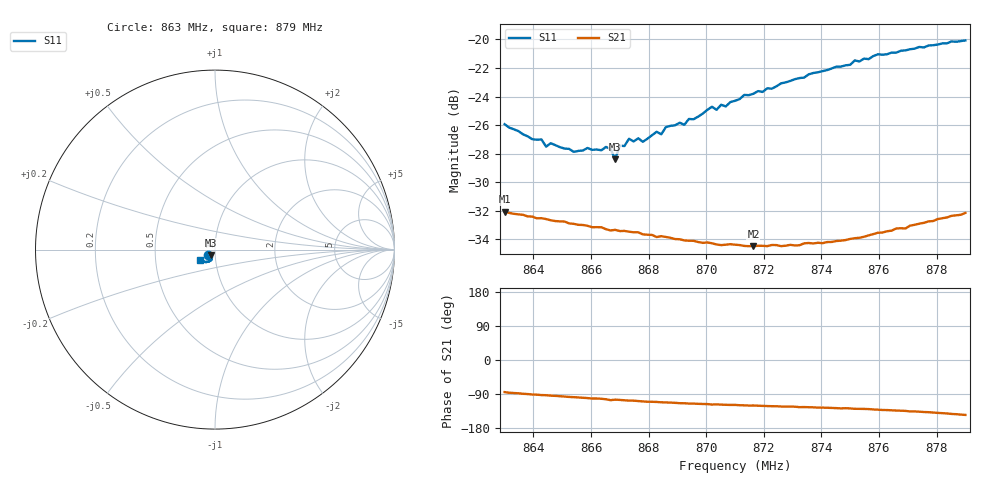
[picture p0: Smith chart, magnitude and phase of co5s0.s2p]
# HZ S RI R 50
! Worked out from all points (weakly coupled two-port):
!   101 points, 863 MHz to 879 MHz, reference 50 ohm
!   highest |S21| = -32.06 dB at 863 MHz (marker M1); lowest = -34.5 dB at 871.64 MHz (marker M2)
!   lowest |S11| = -28.4 dB at 866.84 MHz (marker M3), VSWR 1.08, Z = 47.9 - j3.09 ohm
!   |S11| at or under -10 dB: start of sweep to end of sweep
!   S12 and S22 are empty: the file has one direction only
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8.63e8  -0.0402 -0.0305  0.00231 -0.0248  0 0  0 0
8.6428e8  -0.0317 -0.0314  -0.00105 -0.0237  0 0  0 0
8.6444e8  -0.0302 -0.0294  -0.00119 -0.0235  0 0  0 0
8.646e8  -0.0304 -0.0309  -0.00162 -0.0232  0 0  0 0
8.6572e8  -0.0243 -0.0329  -0.00378 -0.0221  0 0  0 0
8.6652e8  -0.0216 -0.0361  -0.00508 -0.0211  0 0  0 0
8.6668e8  -0.0205 -0.0359  -0.00593 -0.0206  0 0  0 0
8.6684e8  -0.0202 -0.0322  -0.00543 -0.0209  0 0  0 0
8.67e8  -0.0197 -0.0376  -0.00564 -0.0206  0 0  0 0
8.6732e8  -0.0202 -0.0401  -0.00627 -0.0203  0 0  0 0
8.678e8  -0.0176 -0.0401  -0.00689 -0.0196  0 0  0 0
8.6828e8  -0.0182 -0.0439  -0.0072 -0.019  0 0  0 0
8.6844e8  -0.0163 -0.0436  -0.00754 -0.019  0 0  0 0
8.686e8  -0.0177 -0.0461  -0.00764 -0.0189  0 0  0 0
8.6924e8  -0.0172 -0.0472  -0.00808 -0.0181  0 0  0 0
8.702e8  -0.0199 -0.0546  -0.00895 -0.0171  0 0  0 0
8.7036e8  -0.0188 -0.0535  -0.00869 -0.0171  0 0  0 0
8.71e8  -0.0212 -0.0571  -0.00913 -0.0168  0 0  0 0
8.7164e8  -0.0245 -0.0597  -0.00946 -0.0164  0 0  0 0
8.7372e8  -0.035 -0.0678  -0.011 -0.0158  0 0  0 0
8.7644e8  -0.0587 -0.0681  -0.0145 -0.0157  0 0  0 0
8.79e8  -0.0811 -0.0569  -0.0202 -0.0142  0 0  0 0
